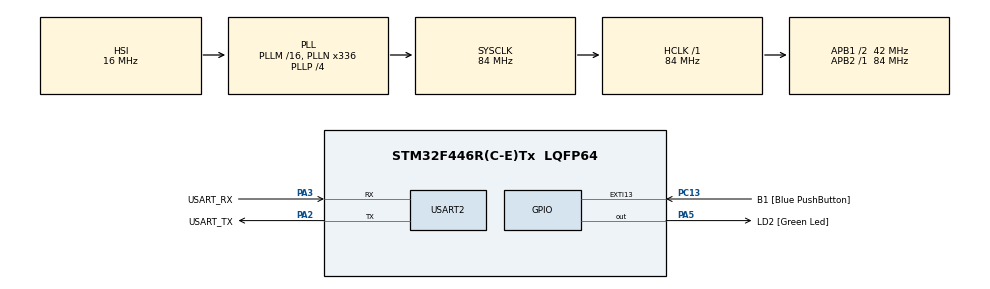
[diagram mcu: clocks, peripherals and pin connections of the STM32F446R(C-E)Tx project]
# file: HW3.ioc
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Mcu.Family=STM32F4
Mcu.Name=STM32F446R(C-E)Tx
Mcu.Package=LQFP64
NVIC.PriorityGroup=NVIC_PRIORITYGROUP_0
PA13.GPIO_Label=TMS
PA13.Mode=Serial_Wire
PA13.Signal=SYS_JTMS-SWDIO
PA14.GPIO_Label=TCK
PA14.Mode=Serial_Wire
PA14.Signal=SYS_JTCK-SWCLK
PA2.GPIO_Label=USART_TX
PA2.Mode=Asynchronous
PA2.Signal=USART2_TX
PA3.GPIO_Label=USART_RX
PA3.Mode=Asynchronous
PA3.Signal=USART2_RX
PA5.GPIO_Label=LD2 [Green Led]
PA5.Signal=GPIO_Output
PB3.GPIO_Label=SWO
PB3.Signal=SYS_JTDO-SWO
PC13.GPIO_Label=B1 [Blue PushButton]
PC13.GPIO_ModeDefaultEXTI=GPIO_MODE_IT_FALLING
PC13.Signal=GPXTI13
PC14-OSC32_IN.Mode=LSE-External-Oscillator
PC14-OSC32_IN.Signal=RCC_OSC32_IN
PC15-OSC32_OUT.Mode=LSE-External-Oscillator
PC15-OSC32_OUT.Signal=RCC_OSC32_OUT
PH0-OSC_IN.Mode=HSE-External-Oscillator
PH0-OSC_IN.Signal=RCC_OSC_IN
PH1-OSC_OUT.Mode=HSE-External-Oscillator
PH1-OSC_OUT.Signal=RCC_OSC_OUT
ProjectManager.HeapSize=0x200
ProjectManager.StackSize=0x400
ProjectManager.TargetToolchain=STM32CubeIDE
RCC.48MHZClocksFreq_Value=84000000
RCC.AHBFreq_Value=84000000
RCC.APB1CLKDivider=RCC_HCLK_DIV2
RCC.APB1Freq_Value=42000000
RCC.APB1TimFreq_Value=84000000
RCC.APB2Freq_Value=84000000
RCC.APB2TimFreq_Value=84000000
RCC.CortexFreq_Value=84000000
RCC.FLatency-AdvancedSettings=FLASH_LATENCY_2
RCC.HCLKFreq_Value=84000000
RCC.HSE_VALUE=8000000
RCC.HSI_VALUE=16000000
RCC.PLLN=336
RCC.PLLP=RCC_PLLP_DIV4
RCC.SYSCLKFreq_VALUE=84000000
RCC.SYSCLKSource=RCC_SYSCLKSOURCE_PLLCLK
RCC.USBFreq_Value=168000000
RCC.VCOOutputFreq_Value=336000000
USART2.VirtualMode=VM_ASYNC
board=NUCLEO-F446RE

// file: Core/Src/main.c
/* USER CODE BEGIN Header */
/**
  ******************************************************************************
  * @file           : main.c
  * @brief          : Main program body
  ******************************************************************************
  * @attention
  *
  * Copyright (c) 2025 STMicroelectronics.
  * All rights reserved.
  *
  * This software is licensed under terms that can be found in the LICENSE file
  * in the root directory of this software component.
  * If no LICENSE file comes with this software, it is provided AS-IS.
  *
  ******************************************************************************
  */
/* USER CODE END Header */
#include "main.h"
#include "mandrill.h"
#include <math.h>
#include <string.h>

UART_HandleTypeDef huart2;
#define UART_HANDLE &huart2
/* USER CODE BEGIN PV */
// Q1: Grayscale (Flash'tan okunur, RAM'e yazılır)
#define GRAY_WIDTH   160
#define GRAY_HEIGHT  120
#define GRAY_SIZE    (GRAY_WIDTH * GRAY_HEIGHT)
uint8_t binary_image[GRAY_SIZE];

// Q2: Color (RAM'e yazılır ve okunur)
#define RGB_WIDTH    160
#define RGB_HEIGHT   120
#define RGB_SIZE     (RGB_WIDTH * RGB_HEIGHT * 3)
uint8_t rgb_image[RGB_SIZE];

#define SE_SIZE 3
#define BORDER (SE_SIZE / 2) // 1
uint8_t temp_buffer[GRAY_SIZE];

uint8_t morph_result[GRAY_SIZE];
/* USER CODE END PV */

void SystemClock_Config(void);
static void MX_GPIO_Init(void);
static void MX_USART2_UART_Init(void);
/* USER CODE BEGIN PFP */
/* -------------------- MORFOLOJİK İŞLEMLER -------------------- */

// EROZYON (Korozyon)
// Merkeze denk gelen tüm SE pikselleri SİYAH (0) ise, merkez piksel siyah olur.
void erosion(const uint8_t *input_img, uint8_t *output_img) {
    // Kenarları temizle (Siyah yap) - Sınır kontrolü yerine basitçe çerçeve çiziyoruz
    for (int i = 0; i < GRAY_SIZE; i++) output_img[i] = 0;

    for (int y = BORDER; y < GRAY_HEIGHT - BORDER; y++) {
        for (int x = BORDER; x < GRAY_WIDTH - BORDER; x++) {

            // Eğer merkez piksel SİYAH ise, sonuç kesinlikle siyahtır (işleme gerek yok)
            if (input_img[y * GRAY_WIDTH + x] == 0) {
                output_img[y * GRAY_WIDTH + x] = 0;
                continue;
            }

            // Merkez BEYAZ ise, komşulara bak
            int keep_white = 1;
            for (int i = -BORDER; i <= BORDER; i++) {
                for (int j = -BORDER; j <= BORDER; j++) {
                    // Herhangi bir komşu SİYAH ise, erozyon gerçekleşir
                    if (input_img[(y + i) * GRAY_WIDTH + (x + j)] == 0) {
                        keep_white = 0;
                        goto e_break; // Hızlı çıkış
                    }
                }
            }
        e_break:
            output_img[y * GRAY_WIDTH + x] = (keep_white) ? 255 : 0;
        }
    }
}

// GENİŞLEME (Dilation)
// Merkeze denk gelen tüm SE piksellerinden en az biri BEYAZ (255) ise, merkez piksel beyaz olur.
void dilation(const uint8_t *input_img, uint8_t *output_img) {
    // Kenarları temizle
    for (int i = 0; i < GRAY_SIZE; i++) output_img[i] = 0;

    for (int y = BORDER; y < GRAY_HEIGHT - BORDER; y++) {
        for (int x = BORDER; x < GRAY_WIDTH - BORDER; x++) {

            // Eğer merkez BEYAZ ise, sonuç kesinlikle beyazdır
            if (input_img[y * GRAY_WIDTH + x] == 255) {
                output_img[y * GRAY_WIDTH + x] = 255;
                continue;
            }

            // Merkez SİYAH ise, komşulara bak (Herhangi biri beyaz mı?)
            int make_white = 0;
            for (int i = -BORDER; i <= BORDER; i++) {
                for (int j = -BORDER; j <= BORDER; j++) {
                    // Herhangi bir komşu BEYAZ ise genişleme olur
                    if (input_img[(y + i) * GRAY_WIDTH + (x + j)] == 255) {
                        make_white = 1;
                        goto d_break;
                    }
                }
            }
        d_break:
            output_img[y * GRAY_WIDTH + x] = (make_white) ? 255 : 0;
        }
    }
}

// AÇMA (Opening): Erosion -> Dilation
void opening(const uint8_t *input_img, uint8_t *output_img) {
    // 1. Erosion: Input -> Temp (rgb_image)
    erosion(input_img, rgb_image);

    // 2. Dilation: Temp (rgb_image) -> Output
    dilation(rgb_image, output_img);
}

// KAPAMA (Closing): Dilation -> Erosion
void closing(const uint8_t *input_img, uint8_t *output_img) {
    // 1. Dilation: Input -> Temp (rgb_image)
    dilation(input_img, rgb_image);

    // 2. Erosion: Temp (rgb_image) -> Output
    erosion(rgb_image, output_img);
}

void otsu_gray_process(void) {
    int histogram[256] = {0};
    const uint8_t *input_img = GRAYSCALE_IMG_ARRAY; // Header dosyasından

    // 1. Histogram
    for (int i = 0; i < GRAY_SIZE; i++) {
        histogram[input_img[i]]++;
    }

    double total_pixels = (double)GRAY_SIZE;
    double current_max_variance = 0.0;
    int optimal_threshold = 0;
    double sum_total = 0.0;

    for (int i = 0; i < 256; i++) sum_total += i * histogram[i];

    double sum_background = 0.0;
    double weight_background = 0.0;
    double weight_foreground = 0.0;

    // 2. Threshold Bulma
    for (int t = 0; t < 256; t++) {
        weight_background += histogram[t];
        if (weight_background == 0) continue;
        weight_foreground = total_pixels - weight_background;
        if (weight_foreground == 0) break;

        sum_background += (double)(t * histogram[t]);
        double mean_b = sum_background / weight_background;
        double mean_f = (sum_total - sum_background) / weight_foreground;
        double var_between = weight_background * weight_foreground * pow((mean_b - mean_f), 2);

        if (var_between > current_max_variance) {
            current_max_variance = var_between;
            optimal_threshold = t;
        }
    }

    // 3. Binary'e Çevirme
    for (int i = 0; i < GRAY_SIZE; i++) {
        binary_image[i] = (input_img[i] > optimal_threshold) ? 255 : 0;
    }
}

/* --- Q2: COLOR OTSU FONKSİYONLARI --- */
int calculate_single_channel_otsu(uint8_t *data, int step, int offset, int total_pixels) {
    int histogram[256] = {0};
    for (int i = 0; i < total_pixels; i++) {
        histogram[data[i * step + offset]]++;
    }

    double total = (double)total_pixels;
    double max_var = 0.0;
    int threshold = 0;
    double sum_total = 0.0;

    for(int i=0; i<256; i++) sum_total += i * histogram[i];

    double sum_bg = 0.0;
    double w_bg = 0.0, w_fg = 0.0;

    for (int t = 0; t < 256; t++) {
        w_bg += histogram[t];
        if (w_bg == 0) continue;
        w_fg = total - w_bg;
        if (w_fg == 0) break;

        sum_bg += (double)(t * histogram[t]);
        double m_b = sum_bg / w_bg;
        double m_f = (sum_total - sum_bg) / w_fg;
        double var = w_bg * w_fg * (m_b - m_f) * (m_b - m_f);

        if (var > max_var) {
            max_var = var;
            threshold = t;
        }
    }
    return threshold;
}

void process_color_otsu(void) {
    int total_pixels = RGB_WIDTH * RGB_HEIGHT;

    // R, G, B için ayrı eşik değerleri
    int th_r = calculate_single_channel_otsu(rgb_image, 3, 0, total_pixels);
    int th_g = calculate_single_channel_otsu(rgb_image, 3, 1, total_pixels);
    int th_b = calculate_single_channel_otsu(rgb_image, 3, 2, total_pixels);

    for (int i = 0; i < total_pixels; i++) {
        // Red Kanalı
        rgb_image[i*3 + 0] = (rgb_image[i*3 + 0] > th_r) ? 255 : 0;
        // Green Kanalı
        rgb_image[i*3 + 1] = (rgb_image[i*3 + 1] > th_g) ? 255 : 0;
        // Blue Kanalı
        rgb_image[i*3 + 2] = (rgb_image[i*3 + 2] > th_b) ? 255 : 0;
    }
}
/* USER CODE END PFP */

int main(void)
{

  /* MCU Configuration--------------------------------------------------------*/

  /* Reset of all peripherals, Initializes the Flash interface and the Systick. */
  HAL_Init();

  /* Configure the system clock */
  SystemClock_Config();

  /* Initialize all configured peripherals */
  MX_GPIO_Init();
  MX_USART2_UART_Init();
  uint8_t cmd = 0;
  /* Infinite loop */
  /* USER CODE BEGIN WHILE */
  while (1)
  {
	  // PC'den 1 byte komut bekle (Bloklayıcı)
	  if (HAL_UART_Receive(&huart2, &cmd, 1, HAL_MAX_DELAY) == HAL_OK)
	  {
	      /* --- SENARYO 1: Q1 GRAYSCALE --- */
	      if (cmd == '1')
	      {
	          // İşlemi yap
	          otsu_gray_process();
	          // Sonucu yolla
	          HAL_UART_Transmit(&huart2, binary_image, GRAY_SIZE, HAL_MAX_DELAY);
	      }

	      /* --- SENARYO 2: Q2 RESİM YÜKLEME VE İŞLEME --- */
	      else if (cmd == '2')
	      {
	          // Onay gönder ('A' - Ack)
	          uint8_t ack = 'A';
	          HAL_UART_Transmit(&huart2, &ack, 1, 100);

	          // 57.6KB Renkli Veriyi Al (Timeout yüksek olmalı)
	          if (HAL_UART_Receive(&huart2, rgb_image, RGB_SIZE, 10000) == HAL_OK)
	          {
	              // İşle
	              process_color_otsu();
	              // İşlem Bitti onayı ('D' - Done)
	              uint8_t done = 'D';
	              HAL_UART_Transmit(&huart2, &done, 1, 100);
	          }
	      }

	      /* --- SENARYO 3: Q2 SONUCU OKUMA --- */
	      else if (cmd == '3')
	      {
	          // İşlenmiş renkli veriyi geri yolla
	          HAL_UART_Transmit(&huart2, rgb_image, RGB_SIZE, HAL_MAX_DELAY);
	      }
	      /* --- Q3: EROZYON --- */
	      else if (cmd == '4')
	      {
	          // Q1 sonucunu (binary_image) kullan
	          erosion(binary_image, morph_result);
	          HAL_UART_Transmit(&huart2, morph_result, GRAY_SIZE, HAL_MAX_DELAY);
	      }

	      /* --- Q3: GENİŞLEME --- */
	      else if (cmd == '5')
	      {
	          dilation(binary_image, morph_result);
	          HAL_UART_Transmit(&huart2, morph_result, GRAY_SIZE, HAL_MAX_DELAY);
	      }

	      /* --- Q3: AÇMA (OPENING) --- */
	      else if (cmd == '6')
	      {
	          // Önce Q1 sonucunu kopyala, çünkü opening in-place işlem yapar

	          opening(binary_image, morph_result);
	          HAL_UART_Transmit(&huart2, morph_result, GRAY_SIZE, HAL_MAX_DELAY);
	      }

	      /* --- Q3: KAPAMA (CLOSING) --- */
	      else if (cmd == '7')
	      {
	          // Önce Q1 sonucunu kopyala
	          closing(binary_image, morph_result);
	          HAL_UART_Transmit(&huart2, morph_result, GRAY_SIZE, HAL_MAX_DELAY);
	      }
	  }
      /* USER CODE END WHILE */
  }
}

void SystemClock_Config(void)
{
  RCC_OscInitTypeDef RCC_OscInitStruct = {0};
  RCC_ClkInitTypeDef RCC_ClkInitStruct = {0};

  /** Configure the main internal regulator output voltage
  */
  __HAL_RCC_PWR_CLK_ENABLE();
  __HAL_PWR_VOLTAGESCALING_CONFIG(PWR_REGULATOR_VOLTAGE_SCALE3);

  /** Initializes the RCC Oscillators according to the specified parameters
  * in the RCC_OscInitTypeDef structure.
  */
  RCC_OscInitStruct.OscillatorType = RCC_OSCILLATORTYPE_HSI;
  RCC_OscInitStruct.HSIState = RCC_HSI_ON;
  RCC_OscInitStruct.HSICalibrationValue = RCC_HSICALIBRATION_DEFAULT;
  RCC_OscInitStruct.PLL.PLLState = RCC_PLL_ON;
  RCC_OscInitStruct.PLL.PLLSource = RCC_PLLSOURCE_HSI;
  RCC_OscInitStruct.PLL.PLLM = 16;
  RCC_OscInitStruct.PLL.PLLN = 336;
  RCC_OscInitStruct.PLL.PLLP = RCC_PLLP_DIV4;
  RCC_OscInitStruct.PLL.PLLQ = 2;
  RCC_OscInitStruct.PLL.PLLR = 2;
  if (HAL_RCC_OscConfig(&RCC_OscInitStruct) != HAL_OK)
  {
    Error_Handler();
  }

  /** Initializes the CPU, AHB and APB buses clocks
  */
  RCC_ClkInitStruct.ClockType = RCC_CLOCKTYPE_HCLK|RCC_CLOCKTYPE_SYSCLK
                              |RCC_CLOCKTYPE_PCLK1|RCC_CLOCKTYPE_PCLK2;
  RCC_ClkInitStruct.SYSCLKSource = RCC_SYSCLKSOURCE_PLLCLK;
  RCC_ClkInitStruct.AHBCLKDivider = RCC_SYSCLK_DIV1;
  RCC_ClkInitStruct.APB1CLKDivider = RCC_HCLK_DIV2;
  RCC_ClkInitStruct.APB2CLKDivider = RCC_HCLK_DIV1;

  if (HAL_RCC_ClockConfig(&RCC_ClkInitStruct, FLASH_LATENCY_2) != HAL_OK)
  {
    Error_Handler();
  }
}

static void MX_USART2_UART_Init(void)
{

  huart2.Instance = USART2;
  huart2.Init.BaudRate = 115200;
  huart2.Init.WordLength = UART_WORDLENGTH_8B;
  huart2.Init.StopBits = UART_STOPBITS_1;
  huart2.Init.Parity = UART_PARITY_NONE;
  huart2.Init.Mode = UART_MODE_TX_RX;
  huart2.Init.HwFlowCtl = UART_HWCONTROL_NONE;
  huart2.Init.OverSampling = UART_OVERSAMPLING_16;
  if (HAL_UART_Init(&huart2) != HAL_OK)
  {
    Error_Handler();
  }

}

static void MX_GPIO_Init(void)
{
  GPIO_InitTypeDef GPIO_InitStruct = {0};

  /* GPIO Ports Clock Enable */
  __HAL_RCC_GPIOC_CLK_ENABLE();
  __HAL_RCC_GPIOH_CLK_ENABLE();
  __HAL_RCC_GPIOA_CLK_ENABLE();
  __HAL_RCC_GPIOB_CLK_ENABLE();

  /*Configure GPIO pin Output Level */
  HAL_GPIO_WritePin(LD2_GPIO_Port, LD2_Pin, GPIO_PIN_RESET);

  /*Configure GPIO pin : B1_Pin */
  GPIO_InitStruct.Pin = B1_Pin;
  GPIO_InitStruct.Mode = GPIO_MODE_IT_FALLING;
  GPIO_InitStruct.Pull = GPIO_NOPULL;
  HAL_GPIO_Init(B1_GPIO_Port, &GPIO_InitStruct);

  /*Configure GPIO pin : LD2_Pin */
  GPIO_InitStruct.Pin = LD2_Pin;
  GPIO_InitStruct.Mode = GPIO_MODE_OUTPUT_PP;
  GPIO_InitStruct.Pull = GPIO_NOPULL;
  GPIO_InitStruct.Speed = GPIO_SPEED_FREQ_LOW;
  HAL_GPIO_Init(LD2_GPIO_Port, &GPIO_InitStruct);

}

void Error_Handler(void)
{
  __disable_irq();
  while (1)
  {
  }
}
